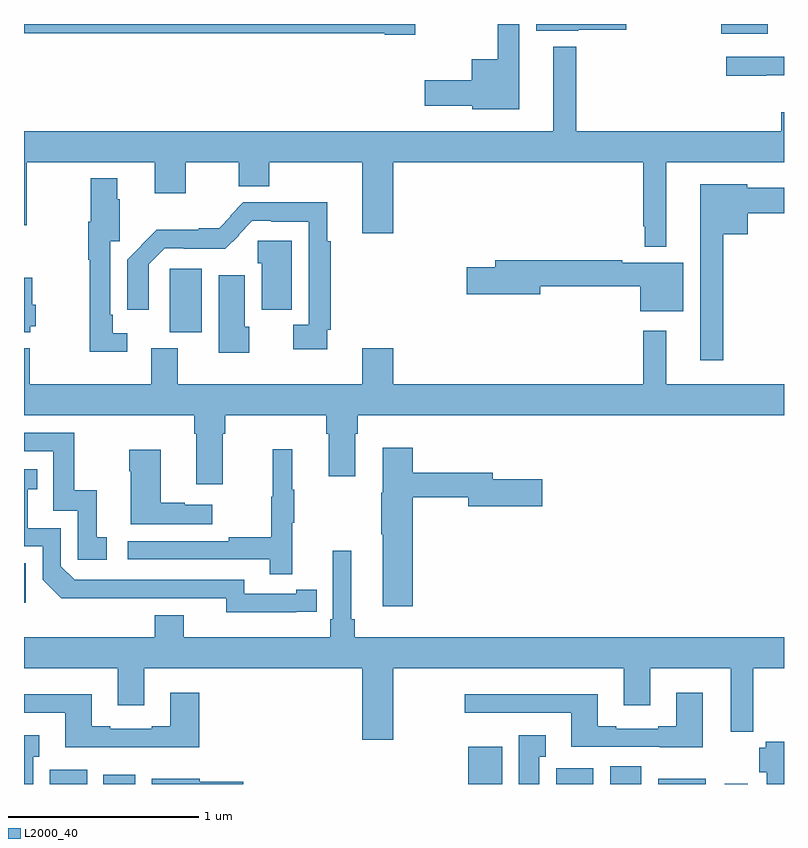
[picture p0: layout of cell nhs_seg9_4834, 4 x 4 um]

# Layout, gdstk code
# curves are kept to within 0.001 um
import gdstk
lib = gdstk.Library(unit=1e-6, precision=1e-09)
def R(c, l, rs):  # rectangles x0, y0, x1, y1
    for r in rs: c.add(gdstk.rectangle(r[:2], r[2:], *l))
def P(c, l, *ps):  # polygons
    for p in ps: c.add(gdstk.Polygon(p, *l))
L2000_40 = (2000, 40)

nhs_seg9_4834 = lib.new_cell('nhs_seg9_4834')
R(nhs_seg9_4834, L2000_40, [(391.136,1174.5,391.333,1174.576), (391.418,1174.5,391.585,1174.549), (393.338,1174.5,393.517,1174.696), (393.801,1174.5,393.997,1174.584), (394.085,1174.5,394.249,1174.594), (394.337,1174.5,394.588,1174.528), (394.688,1174.5,394.81,1174.501), (391,1175.454,391.008,1175.661), (391.766,1176.878,391.936,1177.212), (394.67,1178.45,394.915,1178.5)])
P(nhs_seg9_4834, L2000_40, [(393.06,1178.5),(391,1178.5),(391,1178.452),(392.898,1178.452),(392.898,1178.444),(393.06,1178.444)],
  [(393.918,1178.471),(394.171,1178.471),(394.171,1178.5),(393.695,1178.5),(393.695,1178.465),(393.918,1178.465)],
  [(393.607,1178.5),(393.493,1178.5),(393.493,1178.314),(393.356,1178.314),(393.356,1178.204),(393.108,1178.204),(393.108,1178.069),(393.36,1178.069),(393.36,1178.051),(393.607,1178.051)],
  [(394.381,1177.772),(395,1177.772),(395,1178.035),(394.985,1178.035),(394.985,1177.936),(393.907,1177.936),(393.907,1178.38),(393.785,1178.38),(393.785,1177.936),(391,1177.936),(391,1177.44),(391.015,1177.44),(391.015,1177.772),(391.688,1177.772),(391.688,1177.608),(391.852,1177.608),(391.852,1177.772),(392.129,1177.772),(392.129,1177.646),(392.29,1177.646),(392.29,1177.772),(392.78,1177.772),(392.78,1177.398),(392.944,1177.398),(392.944,1177.772),(394.26,1177.772),(394.26,1177.435),(394.266,1177.435),(394.266,1177.328),(394.381,1177.328)],
  [(394.907,1178.231),(395,1178.231),(395,1178.328),(394.695,1178.328),(394.695,1178.227),(394.907,1178.227)],
  [(391.543,1176.873),(391.467,1176.873),(391.467,1176.97),(391.455,1176.97),(391.455,1177.356),(391.505,1177.356),(391.505,1177.577),(391.492,1177.577),(391.492,1177.687),(391.351,1177.687),(391.351,1177.459),(391.339,1177.459),(391.339,1177.259),(391.347,1177.259),(391.347,1176.776),(391.543,1176.776)],
  [(394.681,1177.394),(394.81,1177.394),(394.81,1177.505),(395,1177.505),(395,1177.639),(394.806,1177.639),(394.806,1177.657),(394.559,1177.657),(394.559,1176.729),(394.681,1176.729)],
  [(392.595,1176.892),(392.615,1176.892),(392.615,1177.357),(392.597,1177.357),(392.597,1177.561),(392.155,1177.561),(392.085,1177.491),(392.089,1177.487),(392.027,1177.425),(391.919,1177.425),(391.919,1177.417),(391.699,1177.417),(391.544,1177.26),(391.544,1176.996),(391.656,1176.996),(391.656,1177.236),(391.74,1177.32),(391.84,1177.32),(391.84,1177.316),(392.059,1177.316),(392.133,1177.389),(392.13,1177.392),(392.202,1177.464),(392.302,1177.464),(392.302,1177.46),(392.499,1177.46),(392.499,1176.916),(392.416,1176.916),(392.416,1176.788),(392.595,1176.788)],
  [(392.41,1177.359),(392.229,1177.359),(392.229,1177.242),(392.252,1177.242),(392.252,1176.997),(392.41,1176.997)],
  [(394.471,1177.243),(394.148,1177.243),(394.148,1177.256),(393.479,1177.256),(393.479,1177.22),(393.33,1177.22),(393.33,1177.078),(393.718,1177.078),(393.718,1177.12),(394.244,1177.12),(394.244,1176.989),(394.471,1176.989)],
  [(392.185,1176.906),(392.161,1176.906),(392.161,1177.177),(392.024,1177.177),(392.024,1176.77),(392.185,1176.77)],
  [(391.032,1176.909),(391.062,1176.909),(391.062,1177.023),(391.044,1177.023),(391.044,1177.165),(391,1177.165),(391,1176.878),(391.032,1176.878)],
  [(395,1176.604),(394.381,1176.604),(394.381,1176.886),(394.26,1176.886),(394.26,1176.604),(392.944,1176.604),(392.944,1176.793),(392.78,1176.793),(392.78,1176.604),(391.81,1176.604),(391.81,1176.793),(391.67,1176.793),(391.67,1176.604),(391.029,1176.604),(391.029,1176.793),(391,1176.793),(391,1176.44),(391.895,1176.44),(391.895,1176.344),(391.907,1176.344),(391.907,1176.078),(392.047,1176.078),(392.047,1176.344),(392.06,1176.344),(392.06,1176.44),(392.591,1176.44),(392.591,1176.344),(392.603,1176.344),(392.603,1176.12),(392.743,1176.12),(392.743,1176.344),(392.756,1176.344),(392.756,1176.44),(395,1176.44)],
  [(391.435,1175.799),(391.382,1175.799),(391.382,1176.046),(391.264,1176.046),(391.264,1176.348),(391,1176.348),(391,1176.252),(391.155,1176.252),(391.155,1175.937),(391.284,1175.937),(391.284,1175.679),(391.435,1175.679)],
  [(393.047,1176.01),(393.338,1176.01),(393.338,1175.963),(393.727,1175.963),(393.727,1176.105),(393.466,1176.105),(393.466,1176.139),(393.047,1176.139),(393.047,1176.271),(392.888,1176.271),(392.888,1176.033),(392.881,1176.033),(392.881,1175.815),(392.888,1175.815),(392.888,1175.436),(393.047,1175.436)],
  [(392.411,1175.875),(392.422,1175.875),(392.422,1176.049),(392.411,1176.049),(392.411,1176.262),(392.308,1176.262),(392.308,1176.012),(392.301,1176.012),(392.301,1175.798),(392.077,1175.798),(392.077,1175.778),(391.545,1175.778),(391.545,1175.682),(392.293,1175.682),(392.293,1175.604),(392.411,1175.604)],
  [(391.99,1175.971),(391.847,1175.971),(391.847,1175.981),(391.72,1175.981),(391.72,1176.259),(391.555,1176.259),(391.555,1176.146),(391.562,1176.146),(391.562,1175.867),(391.99,1175.867)],
  [(392.432,1175.406),(392.54,1175.406),(392.54,1175.522),(392.432,1175.522),(392.432,1175.502),(392.16,1175.502),(392.16,1175.574),(391.266,1175.574),(391.194,1175.646),(391.194,1175.847),(391.021,1175.847),(391.021,1176.051),(391.07,1176.051),(391.07,1176.157),(391,1176.157),(391,1175.751),(391.098,1175.751),(391.098,1175.574),(391.196,1175.477),(392.064,1175.478),(392.064,1175.405)],
  [(392.944,1175.108),(394.157,1175.108),(394.157,1174.914),(394.297,1174.914),(394.297,1175.108),(394.721,1175.108),(394.721,1174.776),(394.838,1174.776),(394.838,1175.108),(395,1175.108),(395,1175.272),(392.741,1175.272),(392.741,1175.368),(392.722,1175.368),(392.722,1175.728),(392.625,1175.728),(392.625,1175.368),(392.612,1175.368),(392.612,1175.272),(391.84,1175.272),(391.84,1175.389),(391.688,1175.389),(391.688,1175.272),(391,1175.272),(391,1175.108),(391.493,1175.108),(391.493,1174.914),(391.633,1174.914),(391.633,1175.108),(392.78,1175.108),(392.78,1174.734),(392.944,1174.734)],
  [(394.573,1174.981),(394.433,1174.981),(394.433,1174.804),(394.337,1174.804),(394.337,1174.791),(394.117,1174.791),(394.117,1174.804),(394.021,1174.804),(394.021,1174.972),(393.321,1174.972),(393.321,1174.875),(393.881,1174.875),(393.881,1174.695),(394.345,1174.695),(394.345,1174.694),(394.573,1174.694)],
  [(391.922,1174.981),(391.769,1174.981),(391.769,1174.804),(391.673,1174.804),(391.673,1174.791),(391.453,1174.791),(391.453,1174.804),(391.357,1174.804),(391.357,1174.972),(391,1174.972),(391,1174.875),(391.217,1174.875),(391.217,1174.694),(391.922,1174.694)],
  [(393.712,1174.643),(393.745,1174.643),(393.745,1174.756),(393.605,1174.756),(393.605,1174.5),(393.712,1174.5)],
  [(391.048,1174.643),(391.081,1174.643),(391.081,1174.756),(391,1174.756),(391,1174.5),(391.048,1174.5)],
  [(395,1174.722),(394.903,1174.722),(394.903,1174.692),(394.871,1174.692),(394.871,1174.562),(394.91,1174.562),(394.91,1174.5),(395,1174.5)],
  [(392.155,1174.511),(391.924,1174.511),(391.924,1174.528),(391.673,1174.528),(391.673,1174.5),(392.155,1174.5)])

lib.write_gds('nhs_seg9_4834.gds')
